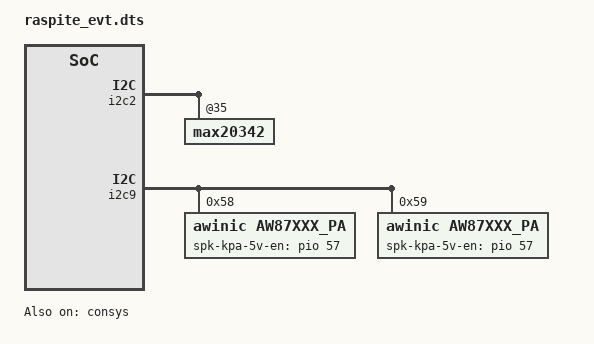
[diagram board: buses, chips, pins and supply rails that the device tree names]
// SPDX-License-Identifier: GPL-2.0
/*
 * Copyright (c) 2022 Amazon.com, Inc. or its affiliates. All Rights Reserved.
 */

/dts-v1/;
/plugin/;

#define RASPITE_EVT
#include "raspite.dtsi"

&chosen {
	version = "evt";
};

&i2c2 {
	max20342@35 {
		pinctrl-names = "mosctrl1_init", "mosctrl1_low", "mosctrl1_high",
		                "mosctrl2_init", "mosctrl2_low", "mosctrl2_high";
		pinctrl-0 = <&mos_ctrl1_init>;
		pinctrl-1 = <&mos_ctrl1_low>;
		pinctrl-2 = <&mos_ctrl1_high>;
		pinctrl-3 = <&mos_ctrl2_init>;
		pinctrl-4 = <&mos_ctrl2_low>;
		pinctrl-5 = <&mos_ctrl2_high>;
	};
};

&pio {
	mos_ctrl1_init: mosctrl1_init {
		pins_cmd_dat {
			pinmux = <PINMUX_GPIO41__FUNC_GPIO41>;
			slew-rate = <1>;
			output-low;
		};
	};

	mos_ctrl1_low: mosctrl1_low {
		pins_cmd_dat {
			pinmux = <PINMUX_GPIO41__FUNC_GPIO41>;
			slew-rate = <1>;
			output-low;
		};
	};

	mos_ctrl1_high: mosctrl1_high {
		pins_cmd_dat {
			pinmux = <PINMUX_GPIO41__FUNC_GPIO41>;
			slew-rate = <1>;
			output-high;
		};
	};

	mos_ctrl2_init: mosctrl2_init {
		pins_cmd_dat {
			pinmux = <PINMUX_GPIO43__FUNC_GPIO43>;
			slew-rate = <1>;
			output-low;
		};
	};

	mos_ctrl2_low: mosctrl2_low {
		pins_cmd_dat {
			pinmux = <PINMUX_GPIO43__FUNC_GPIO43>;
			slew-rate = <1>;
			output-low;
		};
	};

	mos_ctrl2_high: mosctrl2_high {
		pins_cmd_dat {
			pinmux = <PINMUX_GPIO43__FUNC_GPIO43>;
			slew-rate = <1>;
			output-high;
		};
	};
};

&i2c9 {
	aw87xxx_pa@58 {
		compatible = "awinic,aw87xxx_pa";
		spk-kpa-5v-en-gpios = <&pio 57 GPIO_ACTIVE_HIGH>;
		reg = <0x58>;
		dev_index = <0>;
		status = "okay";
	};

	aw87xxx_pa@59 {
		compatible = "awinic,aw87xxx_pa";
		spk-kpa-5v-en-gpios = <&pio 57 GPIO_ACTIVE_HIGH>;
		reg = <0x59>;
		dev_index = <1>;
		status = "okay";
	};
};

&consys {
	status = "okay";
};

&sound {
	d_class_pa_codec_gain_l = <4>;
	d_class_pa_codec_gain_r = <4>;
	k_class_pa_codec_gain_l = <3>;
	k_class_pa_codec_gain_r = <3>;
	board_id0 = <&pio 65 GPIO_ACTIVE_HIGH>;
	board_id1 = <&pio 66 GPIO_ACTIVE_HIGH>;
	board_id2 = <&pio 60 GPIO_ACTIVE_HIGH>;
	dc_detection_support;
	dc_det_irq_num = <1>;
	dc_det-gpio = <&pio 96 GPIO_ACTIVE_HIGH>;
	dc_gpio-names = "dc_det-gpio";
	dc_irq-names = "dc_det_irq";
	dc_det_debounce_count_max = <3>;
	dc_det_debounce_interval_time_ms = <30>;
	dc_det_disable_pa_threshold = <3>;
	dc_det_vsim2-supply = <&mt_pmic_vsim2_ldo_reg>;
};

&charger {
	wireless_5w_charger_input_current = <1050000>;
	wireless_5w_charger_current = <1200000>;
	wireless_10w_charger_input_current = <1200000>;
	wireless_10w_charger_current = <2400000>;
	adapter_5w_iusb_lim = <1100000>;
	adapter_7p5w_iusb_lim = <1650000>;
	adapter_9w_iusb_lim = <1950000>;
	adapter_12w_iusb_lim = <2650000>;
	adapter_15w_iusb_lim = <3150000>;
};
